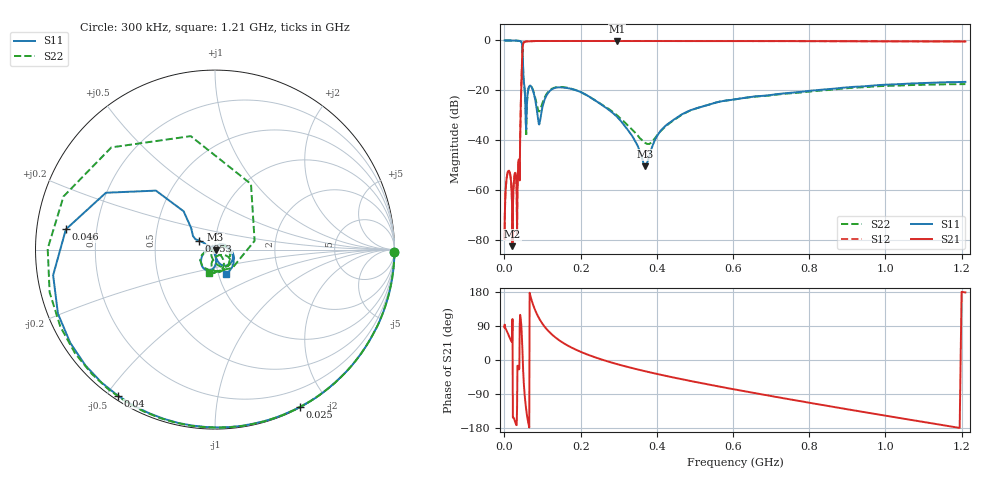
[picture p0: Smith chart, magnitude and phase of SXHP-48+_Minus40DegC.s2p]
! Mini-Circuits
! S2P DATA File Format
! Type: HIGH PASS FILTER
! Model: SXHP-48+
! All S Parameters are in dB deg format
! TEST CONDITIONS: INPUT POWER = 0 dBm @ Temperature = -40deg C
! 329 Frequency points
# MHz S DB R 50
!FREQ  MAG(S11)PHS(S11) MAG(S21)PHS(S21)MAG(S12)PHS(S12)MAG(S22)PHS(S22)
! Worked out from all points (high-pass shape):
!   329 points, 300 kHz to 1.21 GHz, reference 50 ohm
!   highest |S21| = -0.18 dB at 295 MHz (marker M1); lowest = -82.6 dB at 21 MHz (marker M2)
!   |S21| within 3 dB of the highest: 47.66 MHz to end of sweep
!   lowest |S11| = -50.5 dB at 370 MHz (marker M3), VSWR 1.01, Z = 50.3 - j0.0383 ohm
!   |S11| at or under -10 dB: 48.74 MHz to end of sweep
!   |S22| runs from -41.5 to 0.0 dB; largest |S21 - S12| = 0.0027
!   S11 on the Smith chart (normalised r, x): 300 kHz: open; 25 MHz: 0.01, -1.67; 40 MHz: 0.01, -0.53; 46 MHz: 0.09, +0.07; 53 MHz: 0.83, +0.08; 1.21 GHz: 1.09, -0.30
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0.3  0.00 -0.7  -79.21 87.1  -80.14 75.9  0.00 -0.7
11  0.00 -25.2  -52.28 64.9  -52.25 65.2  0.00 -25.8
18  -0.01 -42.5  -58.37 50.1  -58.48 49.6  -0.01 -43.6
21  -0.02 -50.4  -82.56 108.0  -81.12 111.2  -0.02 -51.9
25  -0.03 -61.8  -55.98 -154.7  -55.90 -155.4  -0.03 -63.9
31  -0.06 -81.4  -56.21 -171.6  -56.37 -172.1  -0.06 -85.1
33  -0.08 -89.0  -76.52 -128.0  -77.71 -133.9  -0.08 -93.5
36  -0.11 -101.9  -50.05 -17.6  -50.00 -17.9  -0.11 -108.3
40  -0.20 -123.7  -56.14 93.7  -56.08 93.6  -0.22 -134.8
46  -1.53 172.3  -8.65 55.3  -8.63 55.3  -1.82 135.4
53  -19.79 151.1  -0.56 -93.2  -0.55 -93.2  -19.85 -144.9
57  -35.60 -111.0  -0.39 -131.0  -0.38 -131.1  -38.54 -79.8
65  -18.37 -105.4  -0.34 -178.2  -0.33 -178.2  -18.49 -72.5
94  -31.66 60.9  -0.21 104.5  -0.19 104.4  -27.74 -47.9
205  -21.09 -69.1  -0.21 19.5  -0.20 19.4  -21.07 -78.8
295  -30.59 -83.2  -0.18 -10.7  -0.17 -10.8  -29.99 -130.2
370  -50.48 -7.3  -0.19 -29.8  -0.18 -29.9  -41.17 141.6
405  -37.30 63.9  -0.19 -37.8  -0.18 -37.9  -37.26 64.3
610  -23.53 18.2  -0.24 -78.8  -0.22 -78.8  -23.52 12.8
810  -20.09 -9.3  -0.29 -114.5  -0.28 -114.5  -20.36 -30.2
1010  -17.72 -38.9  -0.35 -148.5  -0.34 -148.5  -18.19 -66.1
1210  -16.62 -64.9  -0.41 178.3  -0.40 178.2  -17.53 -105.0
